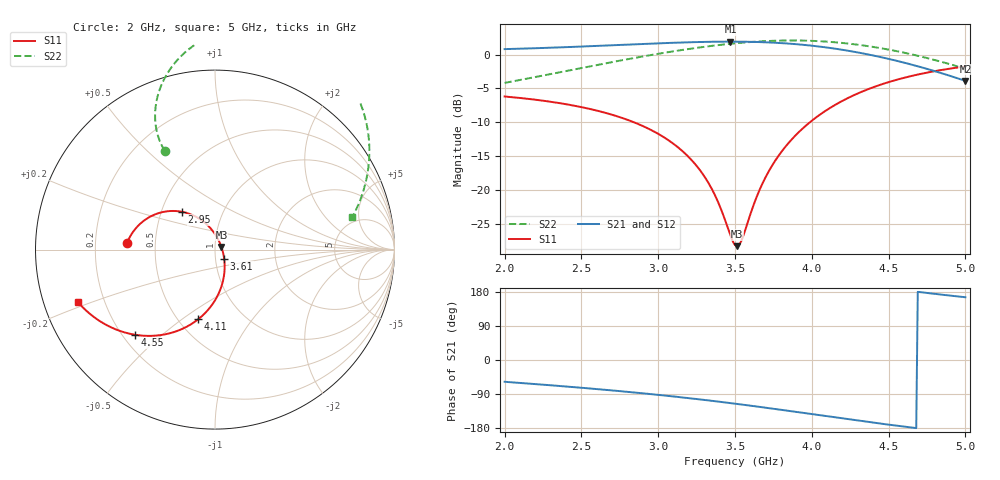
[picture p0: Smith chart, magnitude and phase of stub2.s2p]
! Touchstone file exported from HFSS 2025.2.4
!  File:  C:/Users/hdung/OneDrive/Documents/261_KTSCT_L04_Nhom08/HFSS/Matching_EM3D_3p5GHz.aedt
!  Generated:  10:46:26 PM Nov 25, 2026
!  Design:  stub2
!  Project:  Matching_EM3D_3p5GHz
!Data is not renormalized
# GHz S MA
! Terminal data exported
! Port[1] = P1
! Port[2] = P2
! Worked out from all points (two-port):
!   301 points, 2 GHz to 5 GHz, reference per port
!   highest |S21| = 1.92 dB at 3.47 GHz (marker M1); lowest = -3.9 dB at 5 GHz (marker M2)
!   |S21| within 3 dB of the highest: start of sweep to 4.583 GHz
!   lowest |S11| = -28.3 dB at 3.51 GHz (marker M3), VSWR 1.08
!   |S11| at or under -10 dB: 2.844 GHz to 3.987 GHz (1.143 GHz wide, 33.5 % of centre)
!   |S22| runs from -4.2 to 2.1 dB; largest |S21 - S12| = 1.6e-13
!   S11 on the Smith chart (normalised r, x): 2 GHz: 0.34, +0.04; 2.95 GHz: 0.64, +0.29; 3.61 GHz: 1.10, -0.11; 4.11 GHz: 0.63, -0.58; 4.55 GHz: 0.25, -0.41; 5 GHz: 0.10, -0.18
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2  0.4909 175.5  1.098 -57.5  1.098 -57.5  0.6182 117.0
2.5  0.4098 154.0  1.147 -73.2  1.147 -73.2  0.7969 114.7
2.95  0.2792 131.1  1.205 -89.9  1.205 -89.9  0.9917 106.6
3  0.2602 128.0  1.211 -92.0  1.211 -92.0  1.014 105.3
3.16  0.1931 116.9  1.229 -98.9  1.229 -98.9  1.084 100.7
3.28  0.1364 105.6  1.24 -104.4  1.24 -104.4  1.134 96.8
3.38  0.08653 90.0  1.245 -109.2  1.245 -109.2  1.172 93.1
3.47  0.04642 55.1  1.247 -113.7  1.247 -113.7  1.203 89.6
3.5  0.03935 31.1  1.247 -115.2  1.247 -115.2  1.212 88.4
3.51  0.03858 21.7  1.247 -115.7  1.247 -115.7  1.215 88.0
3.54  0.04189 -6.0  1.246 -117.3  1.246 -117.3  1.223 86.7
3.61  0.07166 -44.6  1.242 -121.0  1.242 -121.0  1.241 83.7
3.68  0.1127 -61.5  1.235 -124.8  1.235 -124.8  1.255 80.5
3.77  0.1704 -74.0  1.222 -129.7  1.222 -129.7  1.267 76.3
3.87  0.2372 -84.1  1.201 -135.4  1.201 -135.4  1.272 71.5
4  0.3252 -95.1  1.164 -142.8  1.164 -142.8  1.264 64.9
4.11  0.3984 -103.5  1.124 -149.1  1.124 -149.1  1.244 59.2
4.31  0.5232 -117.6  1.032 -160.3  1.032 -160.3  1.179 48.8
4.5  0.6268 -130.1  0.9301 -170.6  0.9301 -170.6  1.089 38.9
4.55  0.6511 -133.2  0.9017 -173.2  0.9017 -173.2  1.062 36.3
4.76  0.7403 -145.8  0.779 176.4  0.779 176.4  0.9379 25.6
5  0.8179 -159.1  0.6396 165.6  0.6396 165.6  0.7856 13.3
